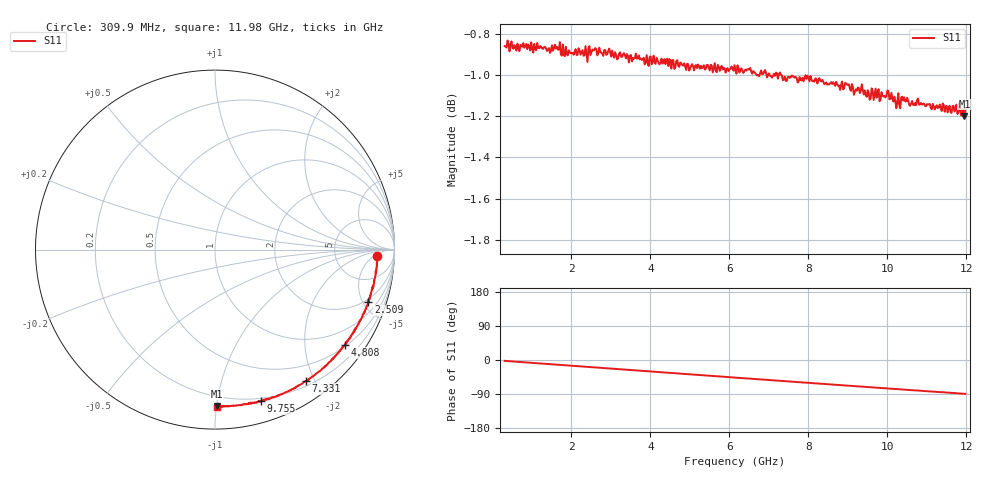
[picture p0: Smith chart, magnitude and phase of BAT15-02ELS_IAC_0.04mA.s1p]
! Infineon Technologies  Discrete & RF Semiconductors
! BAT15-02ELS
! IAC = 0.04 mA
! One-Port S-Parameters
# Hz  S  MA  R  50
!f  S11
!Hz  Mag  Ang
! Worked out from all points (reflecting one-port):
!   468 points, 309.9 MHz to 11.98 GHz, reference 50 ohm
!   lowest |S11| = -1.2 dB at 11.95 GHz (marker M1), VSWR 14.52, Z = 6.94 - j50.2 ohm
!   phase of S11 starts at -2 deg and turns -87 deg over the sweep
!   S11 on the Smith chart (normalised r, x): 309.9 MHz: 17, -7; 2.509 GHz: 1.72, -5.46; 4.808 GHz: 0.55, -2.95; 7.331 GHz: 0.26, -1.88; 9.755 GHz: 0.17, -1.33; 11.98 GHz: 0.13, -1.01
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3.0985e8  0.9059 -2.3
4.347875e8  0.9032 -3.2
1.184412e9  0.9047 -8.9
1.659175e9  0.9041 -12.6
1.784112e9  0.9066 -13.5
2.50875e9  0.9027 -19.0
2.983512e9  0.9024 -22.6
3.233388e9  0.9027 -24.4
4.032988e9  0.8967 -30.5
4.70765e9  0.896 -35.6
4.8076e9  0.8964 -36.4
5.757125e9  0.8934 -43.5
6.156925e9  0.8934 -46.5
6.50675e9  0.894 -49.1
7.331338e9  0.8912 -55.2
7.4063e9  0.8905 -55.8
7.6062e9  0.8909 -57.2
7.781112e9  0.8903 -58.6
7.956025e9  0.8895 -59.8
8.230888e9  0.8871 -62.1
9.080462e9  0.8835 -68.3
9.755125e9  0.8825 -73.2
1.005498e10  0.8792 -75.5
1.017991e10  0.8806 -76.3
1.052974e10  0.8785 -78.8
1.137931e10  0.8736 -85.1
1.195402e10  0.8711 -89.3
1.197901e10  0.8748 -89.2
